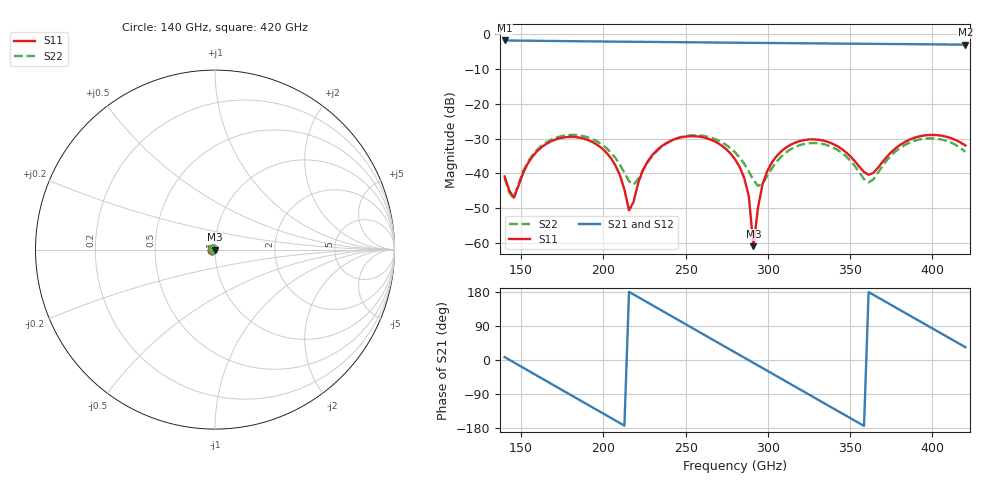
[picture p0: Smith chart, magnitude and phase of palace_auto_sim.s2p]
#  GHZ S DB R 50
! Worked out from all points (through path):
!   101 points, 140 GHz to 420 GHz, reference 50 ohm
!   highest |S21| = -1.74 dB at 140 GHz (marker M1); lowest = -2.9 dB at 420 GHz (marker M2)
!   group delay of S21, straight-line fit = 6.88 ps
!   lowest |S11| = -61.0 dB at 291.2 GHz (marker M3), VSWR 1.00, Z = 49.9 + j0.0449 ohm
!   |S11| at or under -10 dB: start of sweep to end of sweep
!   |S22| runs from -47.2 to -29.0 dB; largest |S21 - S12| = 8.8e-14
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140  -40.94 170.4  -1.74 7.7  -1.74 7.7  -41.32 171.0
145.6  -47.06 -134.2  -1.77 -6.2  -1.77 -6.2  -47.23 -126.3
154  -37.28 -93.3  -1.81 -27.2  -1.81 -27.2  -36.82 -90.2
162.4  -32.53 -106.5  -1.85 -48.1  -1.85 -48.1  -32.09 -103.8
187.6  -29.97 -164.9  -1.98 -110.7  -1.98 -110.7  -29.28 -160.1
204.4  -35.53 158.0  -2.07 -152.3  -2.07 -152.3  -33.93 168.2
210  -40.47 151.4  -2.09 -166.2  -2.09 -166.2  -37.49 165.8
215.6  -50.71 -172.4  -2.11 179.9  -2.11 179.9  -42.32 -175.2
224  -39.19 -93.1  -2.14 159.1  -2.14 159.1  -39.16 -116.2
235.2  -32.30 -112.3  -2.19 131.2  -2.19 131.2  -32.47 -120.4
257.6  -29.41 -163.8  -2.29 75.7  -2.29 75.7  -29.08 -164.3
280  -35.96 143.8  -2.39 20.2  -2.39 20.2  -33.97 154.2
288.4  -46.59 128.1  -2.42 -0.6  -2.42 -0.6  -39.50 153.9
291.2  -61.03 149.6  -2.44 -7.6  -2.44 -7.6  -41.96 164.2
296.8  -43.06 -82.0  -2.46 -21.4  -2.46 -21.4  -42.99 -149.9
302.4  -36.92 -93.1  -2.48 -35.3  -2.48 -35.3  -38.57 -129.5
327.6  -30.24 -148.6  -2.58 -97.7  -2.58 -97.7  -31.30 -163.8
344.4  -32.86 -178.3  -2.65 -139.3  -2.65 -139.3  -33.93 167.5
361.2  -40.43 -153.1  -2.71 179.2  -2.71 179.2  -42.63 -162.4
375.2  -33.81 -118.8  -2.77 144.5  -2.77 144.5  -34.74 -125.9
397.6  -28.99 -152.5  -2.86 89.1  -2.86 89.1  -29.95 -163.4
420  -32.00 173.0  -2.94 33.8  -2.94 33.8  -33.85 155.9
